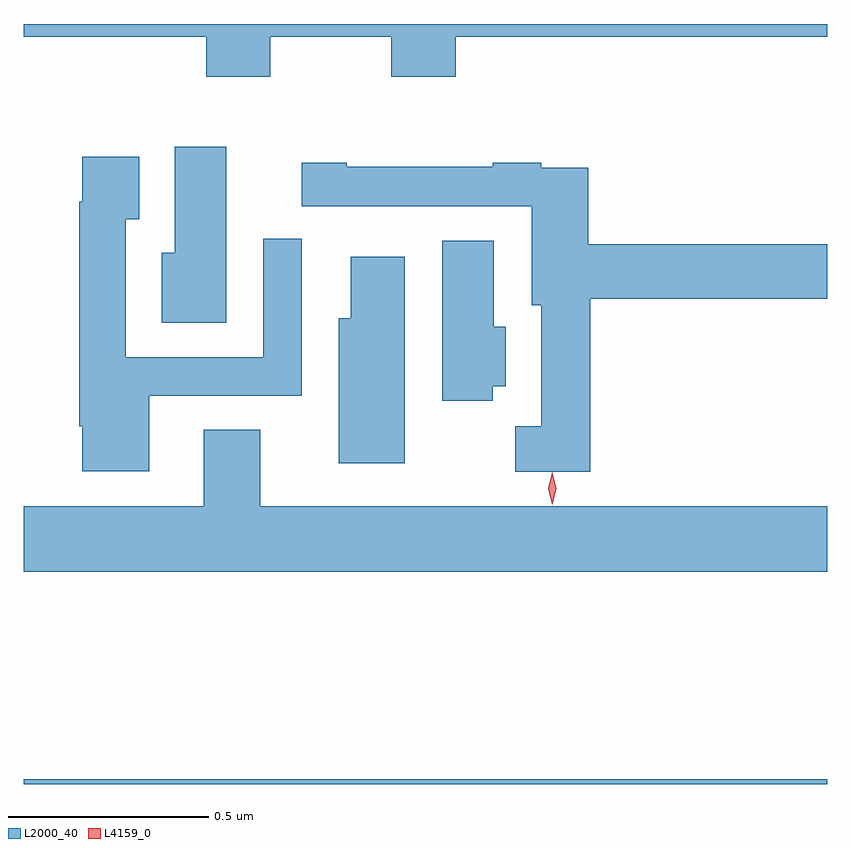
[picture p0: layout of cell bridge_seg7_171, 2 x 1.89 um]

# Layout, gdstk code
import gdstk
lib = gdstk.Library(unit=1e-6, precision=1e-09)
def R(c, l, rs):  # rectangles x0, y0, x1, y1
    for r in rs: c.add(gdstk.rectangle(r[:2], r[2:], *l))
def P(c, l, *ps):  # polygons
    for p in ps: c.add(gdstk.Polygon(p, *l))
L2000_40 = (2000, 40)
L4159_0 = (4159, 0)

bridge_seg7_171 = lib.new_cell('bridge_seg7_171')
R(bridge_seg7_171, L2000_40, [(457.357,1080.008,459.357,1080.02)])
P(bridge_seg7_171, L2000_40, [(457.971,1081.868),(458.272,1081.868),(458.272,1081.769),(458.432,1081.769),(458.432,1081.868),(459.357,1081.868),(459.357,1081.9),(457.357,1081.9),(457.357,1081.868),(457.811,1081.868),(457.811,1081.769),(457.971,1081.769)],
  [(457.861,1081.594),(457.733,1081.594),(457.733,1081.33),(457.7,1081.33),(457.7,1081.156),(457.861,1081.156)],
  [(457.669,1080.975),(458.049,1080.975),(458.049,1081.365),(457.953,1081.365),(457.953,1081.071),(457.611,1081.071),(457.611,1081.414),(457.645,1081.414),(457.645,1081.57),(457.503,1081.57),(457.503,1081.457),(457.495,1081.457),(457.495,1080.898),(457.502,1080.898),(457.502,1080.786),(457.669,1080.786)],
  [(458.767,1081.216),(459.357,1081.216),(459.357,1081.352),(458.762,1081.352),(458.762,1081.542),(458.645,1081.542),(458.645,1081.555),(458.525,1081.555),(458.525,1081.545),(458.161,1081.545),(458.161,1081.555),(458.049,1081.555),(458.049,1081.446),(458.621,1081.446),(458.621,1081.2),(458.645,1081.2),(458.645,1080.898),(458.58,1080.898),(458.58,1080.785),(458.767,1080.785)],
  [(458.524,1080.998),(458.557,1080.998),(458.557,1081.146),(458.527,1081.146),(458.527,1081.361),(458.399,1081.361),(458.399,1080.962),(458.524,1080.962)],
  [(458.305,1081.321),(458.171,1081.321),(458.171,1081.168),(458.141,1081.168),(458.141,1080.806),(458.305,1080.806)],
  [(459.357,1080.7),(457.945,1080.7),(457.945,1080.89),(457.805,1080.89),(457.805,1080.7),(457.357,1080.7),(457.357,1080.536),(459.357,1080.536)])
P(bridge_seg7_171, L4159_0, [(458.673,1080.703),(458.673,1080.703),(458.663,1080.744),(458.673,1080.784),(458.673,1080.784),(458.673,1080.784),(458.683,1080.744),(458.673,1080.703)])

lib.write_gds('bridge_seg7_171.gds')
